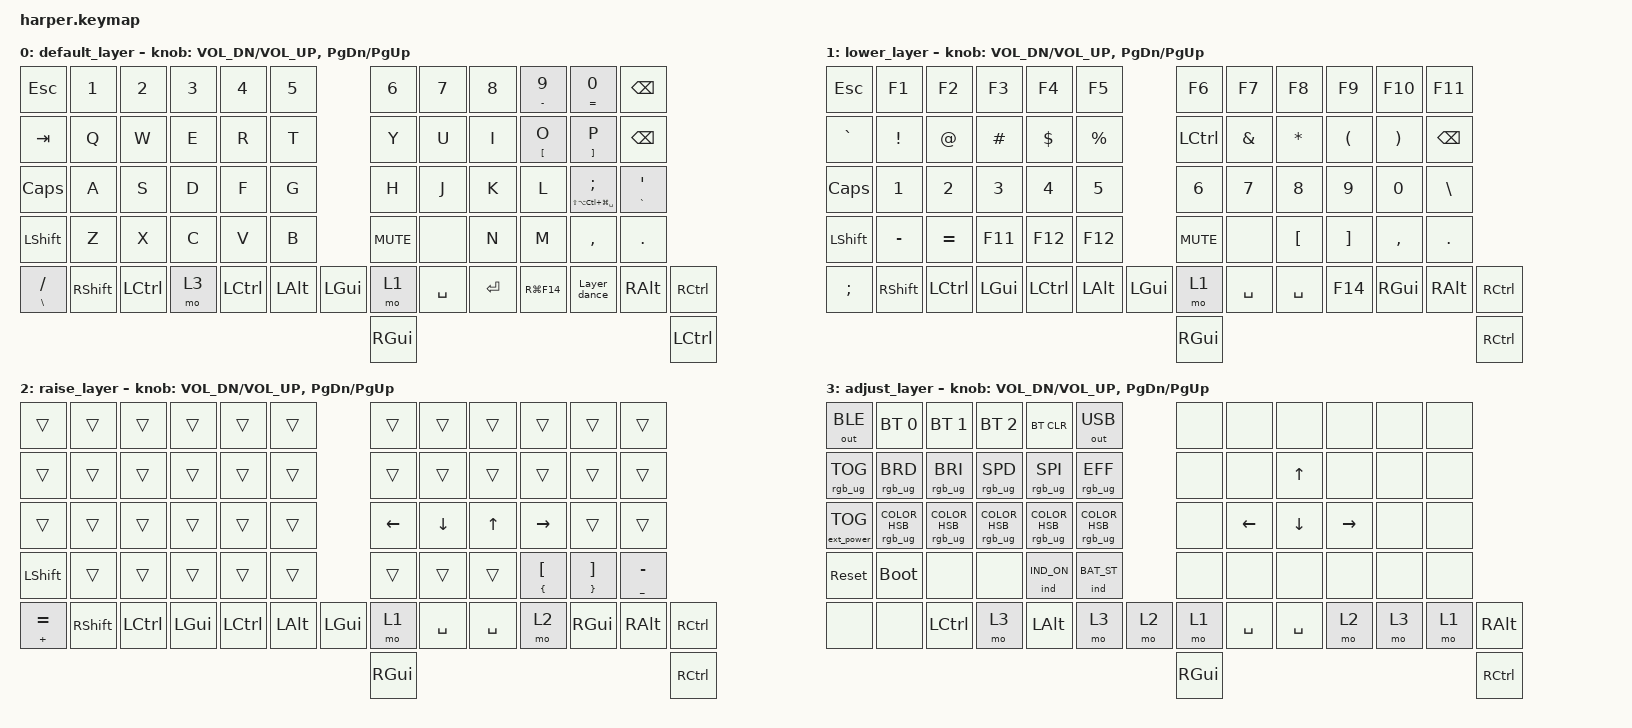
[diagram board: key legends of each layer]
#include <dt-bindings/zmk/indicators.h>
#include <behaviors.dtsi>
#include <dt-bindings/zmk/bt.h>
#include <dt-bindings/zmk/ext_power.h>
#include <dt-bindings/zmk/keys.h>
#include <dt-bindings/zmk/outputs.h>
#include <dt-bindings/zmk/rgb.h>

#define DEF 0
#define LWR 1
#define RSE 2
#define ADJ 3

&lt { quick_tap_ms = <200>; };

&mt { quick_tap_ms = <200>; };

/ {
    behaviors {
        MY_Hold_Tap: MY_Hold_Tap {
            compatible = "zmk,behavior-hold-tap";
            label = "MY_HOLD_TAP";
            bindings = <&kp>, <&kp>;

            #binding-cells = <2>;
            tapping-term-ms = <200>;
            flavor = "tap-preferred";
        };

        F_Dance: F_Dance {
            compatible = "zmk,behavior-tap-dance";
            label = "F_DANCE";
            #binding-cells = <0>;
            bindings = <&kp F>, <&kp LS(LG(LC(LA(F))))>;
        };

        ESC_dance: ESC_dance {
            compatible = "zmk,behavior-tap-dance";
            label = "ESC_DANCE";
            #binding-cells = <0>;
            bindings = <&kp J>, <&kp ESCAPE>;
        };

        CAPS_dance: CAPS_dance {
            compatible = "zmk,behavior-tap-dance";
            label = "CAPS_DANCE";
            #binding-cells = <0>;
            bindings = <&kp F15>, <&kp ESCAPE>;

            tapping-term-ms = <250>;
        };

        Layer_dance: Layer_dance {
            compatible = "zmk,behavior-tap-dance";
            label = "LAYER_DANCE";
            #binding-cells = <0>;
            bindings = <&kp RIGHT_COMMAND>, <&mo 2>;

            tapping-term-ms = <250>;
        };
    };

    combos { compatible = "zmk,combos"; };

    keymap {
        compatible = "zmk,keymap";

        default_layer {
            bindings = <
&kp ESC                  &kp NUMBER_1  &kp N2     &kp N3  &kp NUMBER_4  &kp N5              &kp N6      &kp N7     &kp N8     &MY_Hold_Tap MINUS N9        &MY_Hold_Tap EQUAL N0                         &kp BACKSPACE
&kp TAB                  &kp Q         &kp W      &kp E   &kp R         &kp T               &kp Y       &kp U      &kp I      &MY_Hold_Tap LEFT_BRACKET O  &MY_Hold_Tap RIGHT_BRACKET P                  &kp BSPC
&kp CAPSLOCK             &kp A         &kp S      &kp D   &kp F         &kp G               &kp H       &kp J      &kp K      &kp L                        &MY_Hold_Tap LS(LA(LC(LG(SPACE)))) SEMICOLON  &MY_Hold_Tap GRAVE SQT
&kp LSHFT                &kp Z         &kp X      &kp C   &kp V         &kp B               &kp C_MUTE  &none      &kp N      &kp M                        &kp COMMA                                     &kp DOT
&MY_Hold_Tap BSLH SLASH  &kp RSHFT     &kp LCTRL  &mo 3   &kp LCTRL     &kp LALT  &kp LGUI  &mo 1       &kp SPACE  &kp ENTER  &kp RG(F14)                  &Layer_dance                                  &kp RALT                &kp RCTRL
                                                                                            &kp RGUI                                                                                                                             &kp LCTRL
            >;

            sensor-bindings = <&inc_dec_kp C_VOL_DN C_VOL_UP &inc_dec_kp PG_DN PG_UP>;
        };

        lower_layer {
            bindings = <
&kp ESC         &kp F1           &kp F2       &kp F3    &kp F4      &kp F5                 &kp F6      &kp F7         &kp F8        &kp F9                &kp F10                &kp F11
&kp GRAVE       &kp EXCLAMATION  &kp AT_SIGN  &kp HASH  &kp DOLLAR  &kp PERCENT            &kp LCTRL   &kp AMPERSAND  &kp ASTERISK  &kp LEFT_PARENTHESIS  &kp RIGHT_PARENTHESIS  &kp BACKSPACE
&kp CAPSLOCK    &kp N1           &kp N2       &kp N3    &kp N4      &kp N5                 &kp N6      &kp N7         &kp N8        &kp N9                &kp N0                 &kp BACKSLASH
&kp LEFT_SHIFT  &kp MINUS        &kp EQUAL    &kp F11   &kp F12     &kp F12                &kp C_MUTE  &none          &kp LBKT      &kp RBKT              &kp COMMA              &kp PERIOD
&kp SEMICOLON   &kp RSHFT        &kp LCTRL    &kp LGUI  &kp LCTRL   &kp LALT     &kp LGUI  &mo 1       &kp SPACE      &kp SPACE     &kp F14               &kp RGUI               &kp RALT       &kp RCTRL
                                                                                           &kp RGUI                                                                                             &kp RCTRL
            >;

            sensor-bindings = <&inc_dec_kp C_VOL_DN C_VOL_UP &inc_dec_kp PG_DN PG_UP>;
        };

        raise_layer {
            bindings = <
&trans                   &trans     &trans     &trans    &trans     &trans              &trans          &trans          &trans        &trans                                &trans                                  &trans
&trans                   &trans     &trans     &trans    &trans     &trans              &trans          &trans          &trans        &trans                                &trans                                  &trans
&trans                   &trans     &trans     &trans    &trans     &trans              &kp LEFT_ARROW  &kp DOWN_ARROW  &kp UP_ARROW  &kp RIGHT                             &trans                                  &trans
&kp LSHIFT               &trans     &trans     &trans    &trans     &trans              &trans          &trans          &trans        &MY_Hold_Tap LEFT_BRACE LEFT_BRACKET  &MY_Hold_Tap RIGHT_BRACE RIGHT_BRACKET  &MY_Hold_Tap UNDERSCORE MINUS
&MY_Hold_Tap PLUS EQUAL  &kp RSHFT  &kp LCTRL  &kp LGUI  &kp LCTRL  &kp LALT  &kp LGUI  &mo 1           &kp SPACE       &kp SPACE     &mo 2                                 &kp RGUI                                &kp RALT                       &kp RCTRL
                                                                                        &kp RGUI                                                                                                                                                   &kp RCTRL
            >;

            sensor-bindings = <&inc_dec_kp C_VOL_DN C_VOL_UP &inc_dec_kp PG_DN PG_UP>;
        };

        adjust_layer {
            bindings = <
&out OUT_BLE       &bt BT_SEL 0                     &bt BT_SEL 1                       &bt BT_SEL 2                      &bt BT_CLR                       &out OUT_USB                             &none     &none      &none      &none      &none  &none
&rgb_ug RGB_TOG    &rgb_ug RGB_BRD                  &rgb_ug RGB_BRI                    &rgb_ug RGB_SPD                   &rgb_ug RGB_SPI                  &rgb_ug RGB_EFF                          &none     &none      &kp UP     &none      &none  &none
&ext_power EP_TOG  &rgb_ug RGB_COLOR_HSB(0,100,50)  &rgb_ug RGB_COLOR_HSB(218,100,50)  &rgb_ug RGB_COLOR_HSB(120,97,50)  &rgb_ug RGB_COLOR_HSB(60,0,100)  &rgb_ug RGB_COLOR_HSB(64,100,52)         &none     &kp LEFT   &kp DOWN   &kp RIGHT  &none  &none
&sys_reset         &bootloader                      &none                              &none                             &ind IND_ON                      &ind BAT_ST                              &none     &none      &none      &none      &none  &none
&none              &none                            &kp LCTRL                          &mo 3                             &kp LALT                         &mo 3                             &mo 2  &mo 1     &kp SPACE  &kp SPACE  &mo 2      &mo 3  &mo 1  &kp RALT
                                                                                                                                                                                                   &kp RGUI                                                 &kp RCTRL
            >;

            sensor-bindings = <&inc_dec_kp C_VOL_DN C_VOL_UP &inc_dec_kp PG_DN PG_UP>;
        };
    };
};
